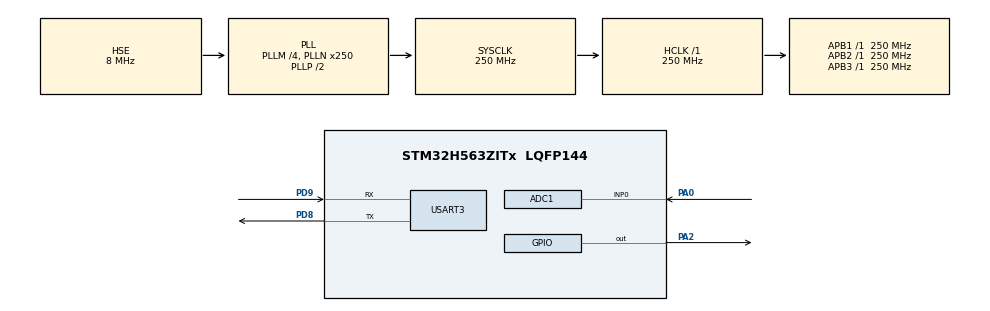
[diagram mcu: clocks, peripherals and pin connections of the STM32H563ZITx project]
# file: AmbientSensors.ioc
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ADC1.Channel-0\#ChannelRegularConversion=ADC_CHANNEL_0
ADC1.MonitoredBy-0\#ChannelRegularConversion=__NULL
ADC1.NbrOfConversionFlag=1
ADC1.OffsetNumber-0\#ChannelRegularConversion=ADC_OFFSET_NONE
ADC1.Rank-0\#ChannelRegularConversion=1
ADC1.SamplingTime-0\#ChannelRegularConversion=ADC_SAMPLETIME_2CYCLES_5
ADC1.master=1
CORTEX_M33_NS.userName=CORTEX_M33
Mcu.Family=STM32H5
Mcu.Name=STM32H563ZITx
Mcu.Package=LQFP144
NVIC.PriorityGroup=NVIC_PRIORITYGROUP_4
PA0.Signal=ADCx_INP0
PA2.Signal=GPIO_Output
PD8.Mode=Asynchronous
PD8.Signal=USART3_TX
PD9.Mode=Asynchronous
PD9.Signal=USART3_RX
PH0-OSC_IN(PH0).Mode=HSE-External-Oscillator
PH0-OSC_IN(PH0).Signal=RCC_OSC_IN
PH1-OSC_OUT(PH1).Mode=HSE-External-Oscillator
PH1-OSC_OUT(PH1).Signal=RCC_OSC_OUT
ProjectManager.HeapSize=0x200
ProjectManager.StackSize=0x400
ProjectManager.TargetToolchain=STM32CubeIDE
RCC.ADCFreq_Value=250000000
RCC.AHBFreq_Value=250000000
RCC.APB1Freq_Value=250000000
RCC.APB1TimFreq_Value=250000000
RCC.APB2Freq_Value=250000000
RCC.APB2TimFreq_Value=250000000
RCC.APB3Freq_Value=250000000
RCC.CSI_VALUE=4000000
RCC.CortexFreq_Value=250000000
RCC.EPOD_VALUE=8000000
RCC.HCLKFreq_Value=250000000
RCC.HSE_VALUE=8000000
RCC.HSI48_VALUE=48000000
RCC.HSIDiv=RCC_HSI_DIV1
RCC.HSI_VALUE=64000000
RCC.LSIRC_VALUE=32000
RCC.PLLM=4
RCC.PLLN=250
RCC.PLLSourceVirtual=RCC_PLL1_SOURCE_HSE
RCC.SYSCLKFreq_VALUE=250000000
RCC.SYSCLKSource=RCC_SYSCLKSOURCE_PLLCLK
RCC.USBFreq_Value=48000000
RCC.VCOOutputFreq_Value=500000000
SH.ADCx_INP0.0=ADC1_INP0,IN0-Single-Ended
USART3.VirtualMode=VM_ASYNC
VP_BOOTPATH_VS_BOOTPATH.Mode=BP_Activate
VP_MEMORYMAP_VS_MEMORYMAP.Mode=CurAppReg
VP_PWR_VS_SECSignals.Mode=Security/Privilege
board=NUCLEO-H563ZI

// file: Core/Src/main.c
/* USER CODE BEGIN Header */
/**
  ******************************************************************************
  * @file           : main.c
  * @brief          : Main program body
  ******************************************************************************
  * @attention
  *
  * Copyright (c) 2023 STMicroelectronics.
  * All rights reserved.
  *
  * This software is licensed under terms that can be found in the LICENSE file
  * in the root directory of this software component.
  * If no LICENSE file comes with this software, it is provided AS-IS.
  *
  ******************************************************************************
  */
/* USER CODE END Header */
#include "main.h"

/* USER CODE BEGIN Includes */
#include <string.h>

/* USER CODE END Includes */

ADC_HandleTypeDef hadc1;

UART_HandleTypeDef huart3;

void SystemClock_Config(void);
static void MX_GPIO_Init(void);
static void MX_MEMORYMAP_Init(void);
static void MX_ADC1_Init(void);
static void MX_USART3_UART_Init(void);
/* USER CODE BEGIN PFP */
void get_temperature(uint16_t temperature);
void print(uint32_t number);

/* USER CODE END PFP */

int main(void)
{

  /* MCU Configuration--------------------------------------------------------*/

  /* Reset of all peripherals, Initializes the Flash interface and the Systick. */
  HAL_Init();

  /* Configure the system clock */
  SystemClock_Config();

  /* Initialize all configured peripherals */
  MX_GPIO_Init();
  MX_MEMORYMAP_Init();
  MX_ADC1_Init();
  MX_USART3_UART_Init();
  /* USER CODE BEGIN 2 */

  char *greeting = {"Welcome to Temperature Sensor Interface."};
  uint16_t adc;

  HAL_UART_Transmit(&huart3, (uint8_t *)greeting, strlen(greeting), 100);
  /* USER CODE END 2 */

  /* Infinite loop */
  while (1)
  {

	  HAL_ADC_Start(&hadc1);
	  HAL_ADC_PollForConversion(&hadc1, 100);
	  adc = HAL_ADC_GetValue(&hadc1);

	  HAL_ADC_Stop(&hadc1);

	  get_temperature(adc);

	  HAL_Delay(500);

  }
}

void SystemClock_Config(void)
{
  RCC_OscInitTypeDef RCC_OscInitStruct = {0};
  RCC_ClkInitTypeDef RCC_ClkInitStruct = {0};

  /** Configure the main internal regulator output voltage
  */
  __HAL_PWR_VOLTAGESCALING_CONFIG(PWR_REGULATOR_VOLTAGE_SCALE0);

  while(!__HAL_PWR_GET_FLAG(PWR_FLAG_VOSRDY)) {}

  /** Initializes the RCC Oscillators according to the specified parameters
  * in the RCC_OscInitTypeDef structure.
  */
  RCC_OscInitStruct.OscillatorType = RCC_OSCILLATORTYPE_HSE;
  RCC_OscInitStruct.HSEState = RCC_HSE_ON;
  RCC_OscInitStruct.PLL.PLLState = RCC_PLL_ON;
  RCC_OscInitStruct.PLL.PLLSource = RCC_PLL1_SOURCE_HSE;
  RCC_OscInitStruct.PLL.PLLM = 4;
  RCC_OscInitStruct.PLL.PLLN = 250;
  RCC_OscInitStruct.PLL.PLLP = 2;
  RCC_OscInitStruct.PLL.PLLQ = 2;
  RCC_OscInitStruct.PLL.PLLR = 2;
  RCC_OscInitStruct.PLL.PLLRGE = RCC_PLL1_VCIRANGE_1;
  RCC_OscInitStruct.PLL.PLLVCOSEL = RCC_PLL1_VCORANGE_WIDE;
  RCC_OscInitStruct.PLL.PLLFRACN = 0;
  if (HAL_RCC_OscConfig(&RCC_OscInitStruct) != HAL_OK)
  {
    Error_Handler();
  }

  /** Initializes the CPU, AHB and APB buses clocks
  */
  RCC_ClkInitStruct.ClockType = RCC_CLOCKTYPE_HCLK|RCC_CLOCKTYPE_SYSCLK
                              |RCC_CLOCKTYPE_PCLK1|RCC_CLOCKTYPE_PCLK2
                              |RCC_CLOCKTYPE_PCLK3;
  RCC_ClkInitStruct.SYSCLKSource = RCC_SYSCLKSOURCE_PLLCLK;
  RCC_ClkInitStruct.AHBCLKDivider = RCC_SYSCLK_DIV1;
  RCC_ClkInitStruct.APB1CLKDivider = RCC_HCLK_DIV1;
  RCC_ClkInitStruct.APB2CLKDivider = RCC_HCLK_DIV1;
  RCC_ClkInitStruct.APB3CLKDivider = RCC_HCLK_DIV1;

  if (HAL_RCC_ClockConfig(&RCC_ClkInitStruct, FLASH_LATENCY_5) != HAL_OK)
  {
    Error_Handler();
  }
}

static void MX_ADC1_Init(void)
{

  ADC_ChannelConfTypeDef sConfig = {0};

  /** Common config
  */
  hadc1.Instance = ADC1;
  hadc1.Init.ClockPrescaler = ADC_CLOCK_ASYNC_DIV2;
  hadc1.Init.Resolution = ADC_RESOLUTION_12B;
  hadc1.Init.DataAlign = ADC_DATAALIGN_RIGHT;
  hadc1.Init.ScanConvMode = ADC_SCAN_DISABLE;
  hadc1.Init.EOCSelection = ADC_EOC_SINGLE_CONV;
  hadc1.Init.LowPowerAutoWait = DISABLE;
  hadc1.Init.ContinuousConvMode = DISABLE;
  hadc1.Init.NbrOfConversion = 1;
  hadc1.Init.DiscontinuousConvMode = DISABLE;
  hadc1.Init.ExternalTrigConv = ADC_SOFTWARE_START;
  hadc1.Init.ExternalTrigConvEdge = ADC_EXTERNALTRIGCONVEDGE_NONE;
  hadc1.Init.DMAContinuousRequests = DISABLE;
  hadc1.Init.SamplingMode = ADC_SAMPLING_MODE_NORMAL;
  hadc1.Init.Overrun = ADC_OVR_DATA_PRESERVED;
  hadc1.Init.OversamplingMode = DISABLE;
  if (HAL_ADC_Init(&hadc1) != HAL_OK)
  {
    Error_Handler();
  }

  /** Configure Regular Channel
  */
  sConfig.Channel = ADC_CHANNEL_0;
  sConfig.Rank = ADC_REGULAR_RANK_1;
  sConfig.SamplingTime = ADC_SAMPLETIME_2CYCLES_5;
  sConfig.SingleDiff = ADC_SINGLE_ENDED;
  sConfig.OffsetNumber = ADC_OFFSET_NONE;
  sConfig.Offset = 0;
  if (HAL_ADC_ConfigChannel(&hadc1, &sConfig) != HAL_OK)
  {
    Error_Handler();
  }

}

static void MX_MEMORYMAP_Init(void)
{

}

static void MX_USART3_UART_Init(void)
{

  huart3.Instance = USART3;
  huart3.Init.BaudRate = 115200;
  huart3.Init.WordLength = UART_WORDLENGTH_8B;
  huart3.Init.StopBits = UART_STOPBITS_1;
  huart3.Init.Parity = UART_PARITY_NONE;
  huart3.Init.Mode = UART_MODE_TX_RX;
  huart3.Init.HwFlowCtl = UART_HWCONTROL_NONE;
  huart3.Init.OverSampling = UART_OVERSAMPLING_16;
  huart3.Init.OneBitSampling = UART_ONE_BIT_SAMPLE_DISABLE;
  huart3.Init.ClockPrescaler = UART_PRESCALER_DIV1;
  huart3.AdvancedInit.AdvFeatureInit = UART_ADVFEATURE_NO_INIT;
  if (HAL_UART_Init(&huart3) != HAL_OK)
  {
    Error_Handler();
  }
  if (HAL_UARTEx_SetTxFifoThreshold(&huart3, UART_TXFIFO_THRESHOLD_1_8) != HAL_OK)
  {
    Error_Handler();
  }
  if (HAL_UARTEx_SetRxFifoThreshold(&huart3, UART_RXFIFO_THRESHOLD_1_8) != HAL_OK)
  {
    Error_Handler();
  }
  if (HAL_UARTEx_DisableFifoMode(&huart3) != HAL_OK)
  {
    Error_Handler();
  }

}

static void MX_GPIO_Init(void)
{
  GPIO_InitTypeDef GPIO_InitStruct = {0};

  /* GPIO Ports Clock Enable */
  __HAL_RCC_GPIOH_CLK_ENABLE();
  __HAL_RCC_GPIOA_CLK_ENABLE();
  __HAL_RCC_GPIOD_CLK_ENABLE();

  /*Configure GPIO pin Output Level */
  HAL_GPIO_WritePin(GPIOA, GPIO_PIN_2, GPIO_PIN_RESET);

  /*Configure GPIO pin : PA2 */
  GPIO_InitStruct.Pin = GPIO_PIN_2;
  GPIO_InitStruct.Mode = GPIO_MODE_OUTPUT_PP;
  GPIO_InitStruct.Pull = GPIO_NOPULL;
  GPIO_InitStruct.Speed = GPIO_SPEED_FREQ_LOW;
  HAL_GPIO_Init(GPIOA, &GPIO_InitStruct);

}

/* USER CODE BEGIN 4 */

void get_temperature(uint16_t temperature1)
{
	uint32_t temperature2 = temperature1 * 8.05;

	HAL_UART_Transmit(&huart3, "Temperature: ", 13, 10);

	print(temperature2);
}

void print(uint32_t number)
{
	uint8_t char_numbers[] = {"000000\n"};
	uint8_t i = 5;

	while (number > 0)
	{
		char_numbers[i] = number % 10 + 48;
		number = number / 10;

		i --;

		if (i == 3)
		{
			char_numbers[i] = '.';
			i --;
		}
	}

	char_numbers[i] = number % 10 + 48;

	HAL_UART_Transmit(&huart3, &char_numbers[0], 8, 10);

	HAL_Delay(1);
}

/* USER CODE END 4 */

void Error_Handler(void)
{
  __disable_irq();
  while (1)
  {
  }
}
